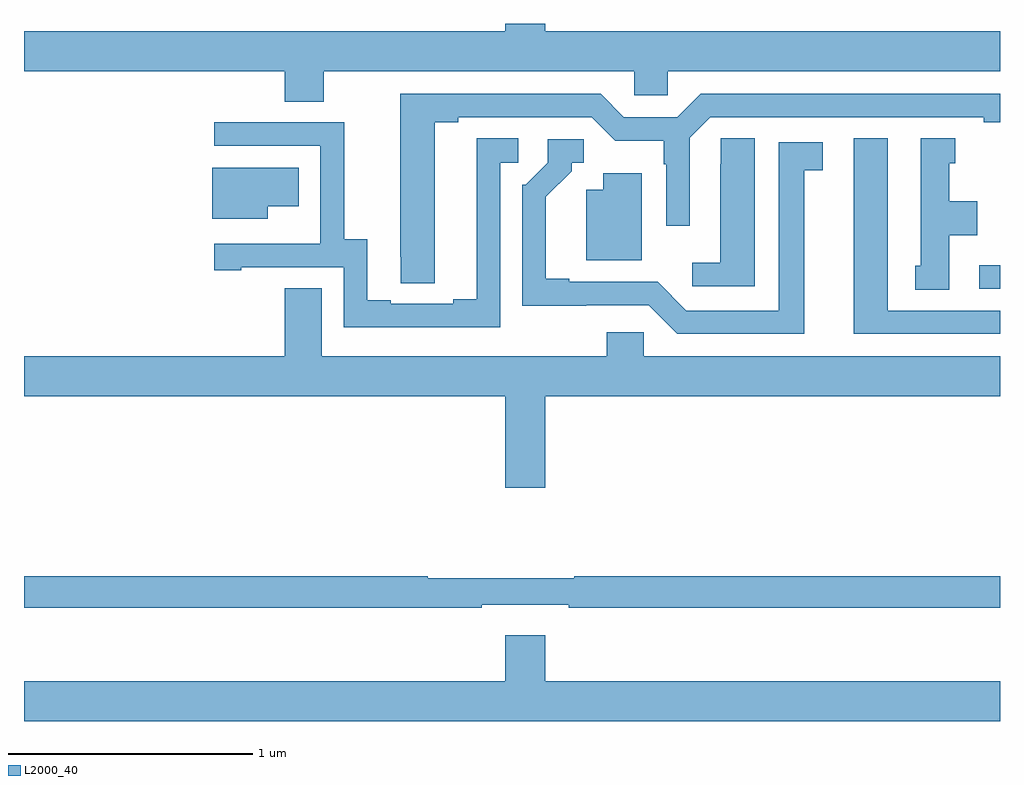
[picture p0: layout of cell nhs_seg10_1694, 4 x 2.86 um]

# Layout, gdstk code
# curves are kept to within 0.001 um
import gdstk
lib = gdstk.Library(unit=1e-6, precision=1e-09)
def R(c, l, rs):  # rectangles x0, y0, x1, y1
    for r in rs: c.add(gdstk.rectangle(r[:2], r[2:], *l))
def P(c, l, *ps):  # polygons
    for p in ps: c.add(gdstk.Polygon(p, *l))
L2000_40 = (2000, 40)

nhs_seg10_1694 = lib.new_cell('nhs_seg10_1694')
R(nhs_seg10_1694, L2000_40, [(202.914,1311.414,203,1311.51)])
P(nhs_seg10_1694, L2000_40, [(200.229,1312.304),(201.501,1312.304),(201.501,1312.206),(201.639,1312.206),(201.639,1312.304),(203,1312.304),(203,1312.468),(201.136,1312.468),(201.136,1312.5),(200.972,1312.5),(200.972,1312.468),(199,1312.468),(199,1312.304),(200.069,1312.304),(200.069,1312.18),(200.229,1312.18)],
  [(200.683,1312.096),(200.779,1312.096),(200.779,1312.116),(201.327,1312.116),(201.424,1312.019),(201.621,1312.019),(201.621,1311.923),(201.633,1311.923),(201.633,1311.672),(201.729,1311.672),(201.729,1312.032),(201.813,1312.116),(202.934,1312.116),(202.934,1312.096),(203,1312.096),(203,1312.212),(201.773,1312.212),(201.677,1312.116),(201.459,1312.116),(201.363,1312.212),(200.543,1312.212),(200.544,1311.436),(200.683,1311.436)],
  [(200.952,1311.93),(201.025,1311.93),(201.025,1312.031),(200.855,1312.031),(200.855,1311.371),(200.759,1311.371),(200.759,1311.351),(200.503,1311.351),(200.503,1311.366),(200.407,1311.366),(200.407,1311.617),(200.313,1311.617),(200.313,1312.095),(199.779,1312.095),(199.779,1311.999),(200.214,1311.999),(200.214,1311.598),(200.213,1311.598),(200.213,1311.597),(199.779,1311.597),(199.779,1311.489),(199.891,1311.489),(199.891,1311.501),(200.31,1311.501),(200.31,1311.255),(200.952,1311.255)],
  [(201.994,1312.031),(201.855,1312.031),(201.855,1311.923),(201.854,1311.923),(201.854,1311.52),(201.738,1311.52),(201.738,1311.423),(201.994,1311.423)],
  [(203,1311.324),(202.54,1311.324),(202.54,1312.03),(202.4,1312.03),(202.4,1311.228),(203,1311.228)],
  [(202.792,1311.632),(202.906,1311.632),(202.906,1311.772),(202.792,1311.772),(202.792,1311.927),(202.816,1311.927),(202.816,1312.03),(202.676,1312.03),(202.676,1311.507),(202.652,1311.507),(202.652,1311.409),(202.792,1311.409)],
  [(202.198,1311.898),(202.273,1311.898),(202.273,1312.014),(202.094,1312.014),(202.094,1311.324),(201.714,1311.324),(201.597,1311.441),(201.235,1311.441),(201.235,1311.454),(201.139,1311.454),(201.139,1311.79),(201.244,1311.895),(201.244,1311.93),(201.295,1311.93),(201.295,1312.026),(201.147,1312.026),(201.147,1311.93),(201.057,1311.84),(201.042,1311.84),(201.042,1311.344),(201.561,1311.345),(201.678,1311.228),(202.198,1311.228)],
  [(199.999,1311.752),(200.125,1311.752),(200.125,1311.91),(199.772,1311.91),(199.772,1311.701),(199.999,1311.701)],
  [(201.532,1311.886),(201.374,1311.886),(201.374,1311.82),(201.305,1311.82),(201.305,1311.53),(201.532,1311.53)],
  [(201.136,1310.972),(203,1310.972),(203,1311.136),(201.54,1311.136),(201.54,1311.234),(201.389,1311.234),(201.389,1311.136),(200.221,1311.136),(200.221,1311.416),(200.069,1311.416),(200.069,1311.136),(199,1311.136),(199,1310.972),(200.972,1310.972),(200.972,1310.598),(201.136,1310.598)],
  [(200.876,1310.118),(201.232,1310.118),(201.232,1310.106),(203,1310.106),(203,1310.234),(201.255,1310.234),(201.255,1310.227),(200.655,1310.227),(200.655,1310.234),(199,1310.234),(199,1310.106),(200.876,1310.106)],
  [(203,1309.804),(201.136,1309.804),(201.136,1309.993),(200.972,1309.993),(200.972,1309.804),(199,1309.804),(199,1309.64),(203,1309.64)])

lib.write_gds('nhs_seg10_1694.gds')
